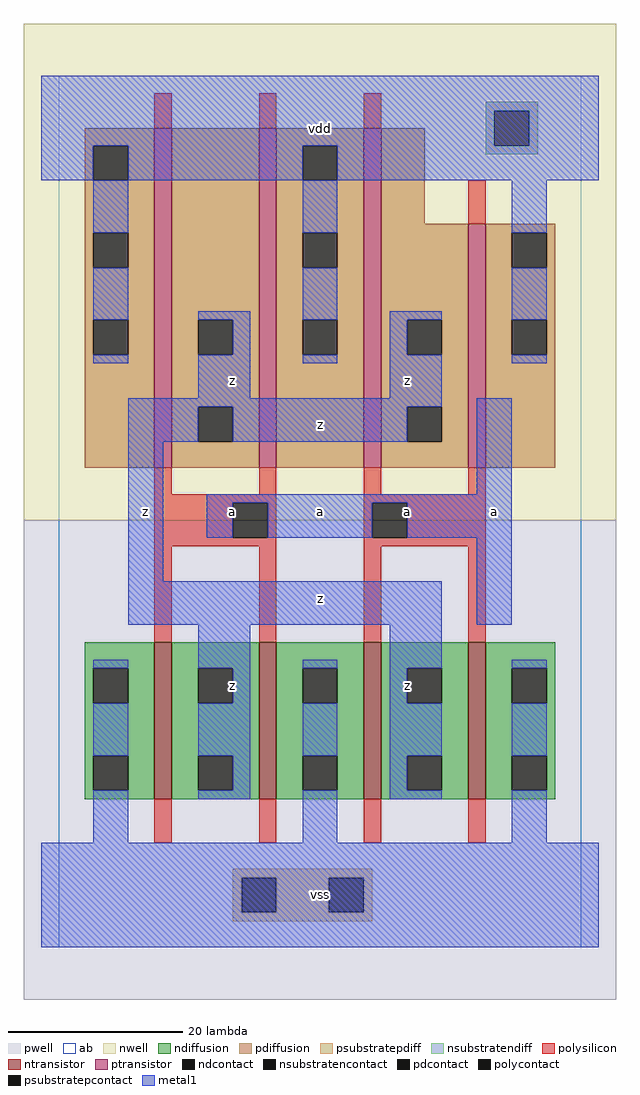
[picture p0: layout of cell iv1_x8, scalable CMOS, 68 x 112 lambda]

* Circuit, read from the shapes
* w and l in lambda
.subckt iv1_x8 a vdd vss z
M1 z a vss vss nfet w=18 l=2 m=4
M2 z a vdd vdd pfet w=39 l=2 m=3
M3 vdd a z vdd pfet w=28 l=2
.ends

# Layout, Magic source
magic
tech scmos
<< ab >>
rect 0 0 60 100
<< pwell >>
rect -4 -6 64 49
<< nwell >>
rect -4 49 64 106
<< polysilicon >>
rect 11 94 13 98
rect 23 94 25 98
rect 35 94 37 98
rect 47 83 49 88
rect 11 52 13 55
rect 23 52 25 55
rect 11 51 25 52
rect 11 47 20 51
rect 24 47 25 51
rect 11 46 25 47
rect 11 35 13 46
rect 23 35 25 46
rect 35 52 37 55
rect 47 52 49 55
rect 35 51 49 52
rect 35 47 36 51
rect 40 47 49 51
rect 35 46 49 47
rect 35 35 37 46
rect 47 35 49 46
rect 11 12 13 17
rect 23 12 25 17
rect 35 12 37 17
rect 47 12 49 17
<< ndiffusion >>
rect 3 32 11 35
rect 3 28 4 32
rect 8 28 11 32
rect 3 22 11 28
rect 3 18 4 22
rect 8 18 11 22
rect 3 17 11 18
rect 13 32 23 35
rect 13 28 16 32
rect 20 28 23 32
rect 13 22 23 28
rect 13 18 16 22
rect 20 18 23 22
rect 13 17 23 18
rect 25 32 35 35
rect 25 28 28 32
rect 32 28 35 32
rect 25 22 35 28
rect 25 18 28 22
rect 32 18 35 22
rect 25 17 35 18
rect 37 32 47 35
rect 37 28 40 32
rect 44 28 47 32
rect 37 22 47 28
rect 37 18 40 22
rect 44 18 47 22
rect 37 17 47 18
rect 49 32 57 35
rect 49 28 52 32
rect 56 28 57 32
rect 49 22 57 28
rect 49 18 52 22
rect 56 18 57 22
rect 49 17 57 18
<< pdiffusion >>
rect 3 92 11 94
rect 3 88 4 92
rect 8 88 11 92
rect 3 82 11 88
rect 3 78 4 82
rect 8 78 11 82
rect 3 72 11 78
rect 3 68 4 72
rect 8 68 11 72
rect 3 55 11 68
rect 13 72 23 94
rect 13 68 16 72
rect 20 68 23 72
rect 13 62 23 68
rect 13 58 16 62
rect 20 58 23 62
rect 13 55 23 58
rect 25 92 35 94
rect 25 88 28 92
rect 32 88 35 92
rect 25 82 35 88
rect 25 78 28 82
rect 32 78 35 82
rect 25 72 35 78
rect 25 68 28 72
rect 32 68 35 72
rect 25 55 35 68
rect 37 83 42 94
rect 37 72 47 83
rect 37 68 40 72
rect 44 68 47 72
rect 37 62 47 68
rect 37 58 40 62
rect 44 58 47 62
rect 37 55 47 58
rect 49 82 57 83
rect 49 78 52 82
rect 56 78 57 82
rect 49 72 57 78
rect 49 68 52 72
rect 56 68 57 72
rect 49 55 57 68
<< metal1 >>
rect -2 92 62 100
rect -2 88 4 92
rect 8 88 28 92
rect 32 88 62 92
rect 4 82 8 88
rect 4 72 8 78
rect 28 82 32 88
rect 4 67 8 68
rect 16 72 22 73
rect 20 68 22 72
rect 16 63 22 68
rect 28 72 32 78
rect 52 82 56 88
rect 28 67 32 68
rect 38 72 44 73
rect 38 68 40 72
rect 38 63 44 68
rect 52 72 56 78
rect 52 67 56 68
rect 8 62 44 63
rect 8 58 16 62
rect 20 58 40 62
rect 8 42 12 58
rect 48 52 52 63
rect 17 51 52 52
rect 17 47 20 51
rect 24 47 36 51
rect 40 47 52 51
rect 8 37 44 42
rect 48 37 52 47
rect 4 32 8 33
rect 4 22 8 28
rect 4 12 8 18
rect 16 32 22 37
rect 20 28 22 32
rect 16 22 22 28
rect 20 18 22 22
rect 16 17 22 18
rect 28 32 32 33
rect 28 22 32 28
rect 28 12 32 18
rect 38 32 44 37
rect 38 28 40 32
rect 38 22 44 28
rect 38 18 40 22
rect 38 17 44 18
rect 52 32 56 33
rect 52 22 56 28
rect 52 12 56 18
rect -2 0 62 12
<< ntransistor >>
rect 11 17 13 35
rect 23 17 25 35
rect 35 17 37 35
rect 47 17 49 35
<< ptransistor >>
rect 11 55 13 94
rect 23 55 25 94
rect 35 55 37 94
rect 47 55 49 83
<< polycontact >>
rect 20 47 24 51
rect 36 47 40 51
<< ndcontact >>
rect 4 28 8 32
rect 4 18 8 22
rect 16 28 20 32
rect 16 18 20 22
rect 28 28 32 32
rect 28 18 32 22
rect 40 28 44 32
rect 40 18 44 22
rect 52 28 56 32
rect 52 18 56 22
<< pdcontact >>
rect 4 88 8 92
rect 4 78 8 82
rect 4 68 8 72
rect 16 68 20 72
rect 16 58 20 62
rect 28 88 32 92
rect 28 78 32 82
rect 28 68 32 72
rect 40 68 44 72
rect 40 58 44 62
rect 52 78 56 82
rect 52 68 56 72
<< psubstratepcontact >>
rect 21 4 25 8
rect 31 4 35 8
<< nsubstratencontact >>
rect 50 92 54 96
<< psubstratepdiff >>
rect 20 8 36 9
rect 20 4 21 8
rect 25 4 31 8
rect 35 4 36 8
rect 20 3 36 4
<< nsubstratendiff >>
rect 49 96 55 97
rect 49 92 50 96
rect 54 92 55 96
rect 49 91 55 92
<< labels >>
rlabel metal1 20 30 20 30 6 z
rlabel metal1 20 30 20 30 6 z
rlabel metal1 10 50 10 50 6 z
rlabel metal1 10 50 10 50 6 z
rlabel metal1 20 50 20 50 6 a
rlabel metal1 20 50 20 50 6 a
rlabel metal1 20 65 20 65 6 z
rlabel metal1 20 65 20 65 6 z
rlabel metal1 30 6 30 6 6 vss
rlabel metal1 30 6 30 6 6 vss
rlabel metal1 30 40 30 40 6 z
rlabel metal1 30 40 30 40 6 z
rlabel metal1 30 50 30 50 6 a
rlabel metal1 30 50 30 50 6 a
rlabel metal1 30 60 30 60 6 z
rlabel metal1 30 60 30 60 6 z
rlabel metal1 30 94 30 94 6 vdd
rlabel metal1 30 94 30 94 6 vdd
rlabel metal1 40 30 40 30 6 z
rlabel metal1 40 30 40 30 6 z
rlabel metal1 40 50 40 50 6 a
rlabel metal1 40 50 40 50 6 a
rlabel metal1 40 65 40 65 6 z
rlabel metal1 40 65 40 65 6 z
rlabel metal1 50 50 50 50 6 a
rlabel metal1 50 50 50 50 6 a
<< end >>
